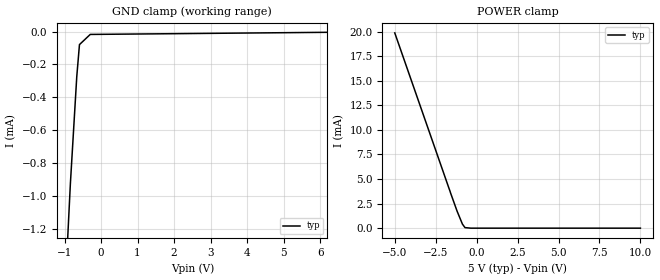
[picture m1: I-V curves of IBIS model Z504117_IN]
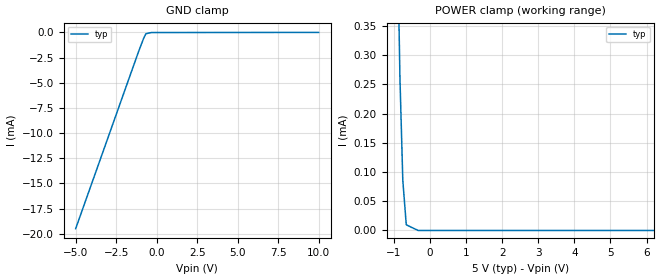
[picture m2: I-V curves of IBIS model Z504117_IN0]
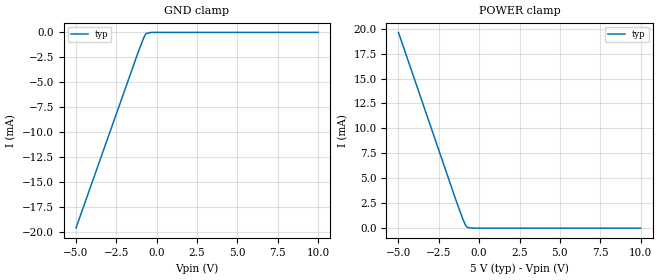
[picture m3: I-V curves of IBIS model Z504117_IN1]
| YOU ARE ONLY AUTHORIZED TO USE THIS SOFTWARE
| ACCORDING TO LICENSOR'S LICENSE RESTRICTIONS.
[IBIS Ver] 3.1
[File Name] mc54hc597j.ibs
[File Rev] 2.0
[Source] Measured and created by ICX Technology
[Date] Friday 7/14/00 9:08:07 AM
[Copyright]
| (C) COPYRIGHT 1993-2000
| MENTOR GRAPHICS CORPORATION
| ICX STANDARD LIBRARY, ICX PROJECT MODELING,
| ICX CUSTOM MODELING, ICX VENDOR MODEL
| ALL RIGHTS RESERVED.
| THE FOLLOWING ARE TRADEMARKS OR SERVICE MARKS OF
| MENTOR GRAPHICS CORPORATION:ICX (R), ICX STANDARD
| LIBRARY(R), ICX PROJECT MODELING(R), ICX CUSTOM
| MODELING(R), qualityIBIS(TM), MODELVIEWER(TM),
| AND MODELEDITOR(TM)
| ALL COPIES OF SOFTWARE, INCLUDING BUT NOT LIMITED TO
| ANY MODIFICATIONS, ENHANCEMENTS OR DERIVATIVE WORKS,
| MUST CONTAIN ALL MENTOR GRAPHICS CORPORATION'S
| NOTICES AND LEGENDS, INCLUDING THOSE EMBEDDED IN
| SOFTWARE AND THOSE AFFIXED TO SOFTWARE MEDIUM
| AND CONTAINER, AS RECEIVED FROM MENTOR GRAPHICS
| CORPORATION.
|  ZAP Model Builder 2.7
[Component] MC54HC597J
[Manufacturer] OnSemiconductor
[Package]
| variable   typ   min   max
R_pkg  .212ohms NA NA
L_pkg  4.758nH NA NA
C_pkg  1.944pF NA NA
[Pin] signal_name  model_name  R_pin  L_pin C_pin
1 D1 Z504117_IN .224 7.258n 2.683p
2 D2 Z504117_IN .216 5.258n 2.19p
3 D3 Z504117_IN .208 3.758n 1.697p
4 D4 Z504117_IN .2 2.758n 1.204p
5 D5 Z504117_IN .2 2.758n 1.204p
6 D6 Z504117_IN .208 3.758n 1.697p
7 D7 Z504117_IN .216 5.258n 2.19p
8 GND GND .224 7.258n 2.683p
9 Q7 Z504117_OUT .224 7.258n 2.683p
10 _MR Z504117_IN0 .216 5.258n 2.19p
11 SHCP Z504117_IN1 .208 3.758n 1.697p
12 STCP Z504117_IN2 .2 2.758n 1.204p
13 _PL Z504117_IN3 .2 2.758n 1.204p
14 DS Z504117_IN4 .208 3.758n 1.697p
15 D0 Z504117_IN .216 5.258n 2.19p
16 VCC POWER .224 7.258n 2.683p
| Models and submodels in the file (7): Z504117_IN (Input), Z504117_IN0 (Input), Z504117_IN1 (Input), Z504117_IN2 (Input), Z504117_IN3 (Input), Z504117_IN4 (Input), Z504117_OUT (Output)
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| (C) COPYRIGHT 1993-2000
| MENTOR GRAPHICS CORPORATION
| ICX STANDARD LIBRARY, ICX PROJECT MODELING,
| ICX CUSTOM MODELING, ICX VENDOR MODEL
| ALL RIGHTS RESERVED.
| THE FOLLOWING ARE TRADEMARKS OR SERVICE MARKS OF
| MENTOR GRAPHICS CORPORATION:ICX (R), ICX STANDARD
| LIBRARY(R), ICX PROJECT MODELING(R), ICX CUSTOM
| MODELING(R), qualityIBIS(TM), MODELVIEWER(TM),
| AND MODELEDITOR(TM)
| ALL COPIES OF SOFTWARE, INCLUDING BUT NOT LIMITED TO
| ANY MODIFICATIONS, ENHANCEMENTS OR DERIVATIVE WORKS,
| MUST CONTAIN ALL MENTOR GRAPHICS CORPORATION'S
| NOTICES AND LEGENDS, INCLUDING THOSE EMBEDDED IN
| SOFTWARE AND THOSE AFFIXED TO SOFTWARE MEDIUM
| AND CONTAINER, AS RECEIVED FROM MENTOR GRAPHICS
| CORPORATION.
| Model Application Version 1.89 2/18/99.
[Model] Z504117_IN
Model_type Input
Vinl = 1.000V
Vinh = 3.500V
C_comp 4.000pF NA NA
| variable typ   min   max
[Voltage Range] 5.000V NA NA
[GND Clamp Reference] 0.000V NA NA
[POWER Clamp Reference] 5.000V NA NA
[GND Clamp]
-5V       -19.64mA   NA         NA
-839.8mV  -927.8uA   NA         NA
-664.1mV  -273.7uA   NA         NA
-590.2mV  -79.22uA   NA         NA
-295.1mV  -17.45uA   NA         NA
10V       2.98uA     NA         NA
[POWER Clamp]
-5V       19.86mA    NA         NA
-1.67V    3.957mA    NA         NA
-1.631V   3.786mA    NA         NA
-1.596V   3.597mA    NA         NA
-1.196V   1.738mA    NA         NA
-869mV    414.9uA    NA         NA
-711mV    55.3uA     NA         NA
-355.5mV  0A         NA         NA
10V       0A         NA         NA
| (C) COPYRIGHT 1993-2000
| MENTOR GRAPHICS CORPORATION
| ICX STANDARD LIBRARY, ICX PROJECT MODELING,
| ICX CUSTOM MODELING, ICX VENDOR MODEL
| ALL RIGHTS RESERVED.
| THE FOLLOWING ARE TRADEMARKS OR SERVICE MARKS OF
| MENTOR GRAPHICS CORPORATION:ICX (R), ICX STANDARD
| LIBRARY(R), ICX PROJECT MODELING(R), ICX CUSTOM
| MODELING(R), qualityIBIS(TM), MODELVIEWER(TM),
| AND MODELEDITOR(TM)
| ALL COPIES OF SOFTWARE, INCLUDING BUT NOT LIMITED TO
| ANY MODIFICATIONS, ENHANCEMENTS OR DERIVATIVE WORKS,
| MUST CONTAIN ALL MENTOR GRAPHICS CORPORATION'S
| NOTICES AND LEGENDS, INCLUDING THOSE EMBEDDED IN
| SOFTWARE AND THOSE AFFIXED TO SOFTWARE MEDIUM
| AND CONTAINER, AS RECEIVED FROM MENTOR GRAPHICS
| CORPORATION.
| Model Application Version 1.89 2/18/99.
[Model] Z504117_IN0
Model_type Input
Vinl = 1.000V
Vinh = 3.500V
C_comp 4.000pF NA NA
| variable typ   min   max
[Voltage Range] 5.000V NA NA
[GND Clamp Reference] 0.000V NA NA
[POWER Clamp Reference] 5.000V NA NA
[GND Clamp]
-5V       -19.49mA   NA         NA
-1.13V    -1.967mA   NA         NA
-802.4mV  -585.4uA   NA         NA
-664.9mV  -130.6uA   NA         NA
-332.5mV  -13.6uA    NA         NA
10V       698.3nA    NA         NA
[POWER Clamp]
-5V       19.52mA    NA         NA
-1.406V   2.64mA     NA         NA
-1.005V   886.1uA    NA         NA
-830mV    263.1uA    NA         NA
-750mV    85.82uA    NA         NA
-654mV    9.764uA    NA         NA
-327mV    0A         NA         NA
10V       0A         NA         NA
| (C) COPYRIGHT 1993-2000
| MENTOR GRAPHICS CORPORATION
| ICX STANDARD LIBRARY, ICX PROJECT MODELING,
| ICX CUSTOM MODELING, ICX VENDOR MODEL
| ALL RIGHTS RESERVED.
| THE FOLLOWING ARE TRADEMARKS OR SERVICE MARKS OF
| MENTOR GRAPHICS CORPORATION:ICX (R), ICX STANDARD
| LIBRARY(R), ICX PROJECT MODELING(R), ICX CUSTOM
| MODELING(R), qualityIBIS(TM), MODELVIEWER(TM),
| AND MODELEDITOR(TM)
| ALL COPIES OF SOFTWARE, INCLUDING BUT NOT LIMITED TO
| ANY MODIFICATIONS, ENHANCEMENTS OR DERIVATIVE WORKS,
| MUST CONTAIN ALL MENTOR GRAPHICS CORPORATION'S
| NOTICES AND LEGENDS, INCLUDING THOSE EMBEDDED IN
| SOFTWARE AND THOSE AFFIXED TO SOFTWARE MEDIUM
| AND CONTAINER, AS RECEIVED FROM MENTOR GRAPHICS
| CORPORATION.
| Model Application Version 1.89 2/18/99.
[Model] Z504117_IN1
Model_type Input
Vinl = 1.000V
Vinh = 3.500V
C_comp 4.000pF NA NA
| variable typ   min   max
[Voltage Range] 5.000V NA NA
[GND Clamp Reference] 0.000V NA NA
[POWER Clamp Reference] 5.000V NA NA
[GND Clamp]
-5V       -19.58mA   NA         NA
-1.132V   -1.931mA   NA         NA
-803.1mV  -555.9uA   NA         NA
-664.9mV  -123.4uA   NA         NA
-332.5mV  -6.607uA   NA         NA
10V       -3.476uA   NA         NA
[POWER Clamp]
-5V       19.63mA    NA         NA
-1.406V   2.658mA    NA         NA
-1.024V   962.6uA    NA         NA
-850mV    318uA      NA         NA
-731mV    61.79uA    NA         NA
-365.5mV  0A         NA         NA
10V       0A         NA         NA
